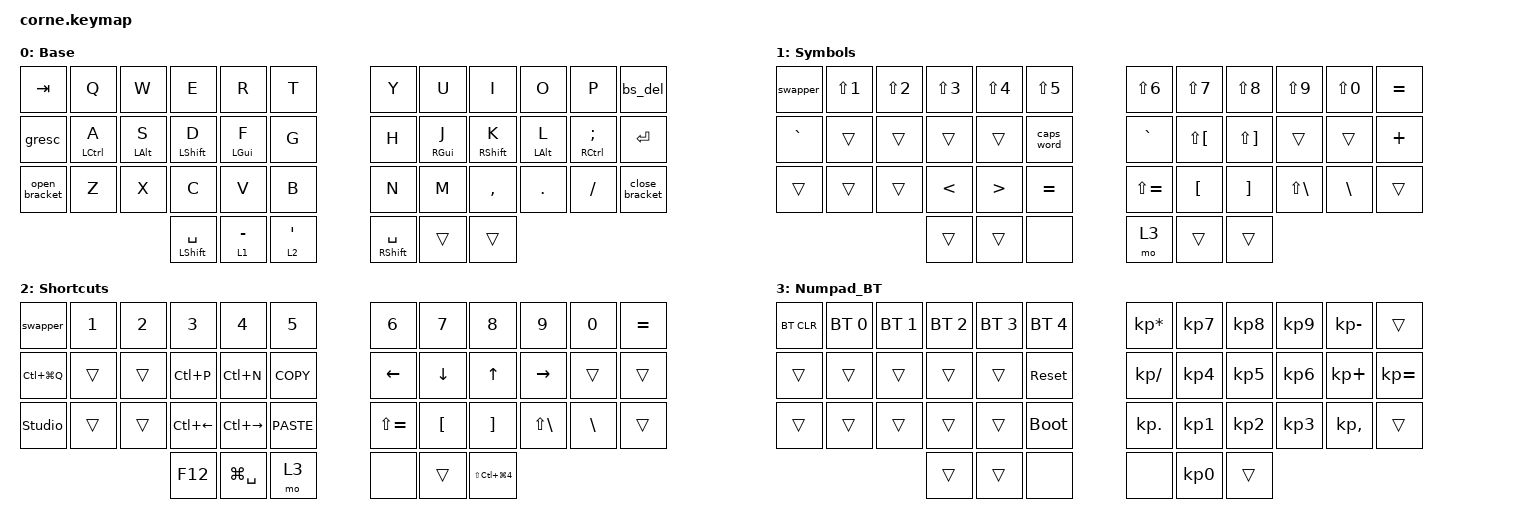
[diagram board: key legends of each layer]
#include <behaviors.dtsi>
#include <behaviors/num_word.dtsi>
#include <dt-bindings/zmk/keys.h>
#include <dt-bindings/zmk/bt.h>

/ {
    behaviors {
        hml: hml {
            compatible = "zmk,behavior-hold-tap";
            #binding-cells = <2>;
            bindings = <&kp>, <&kp>;
            flavor = "balanced";
            tapping-term-ms = <280>;
            quick-tap-ms = <175>;
            require-prior-idle-ms = <150>;
            hold-trigger-on-release;
            hold-trigger-key-positions = <6 7 8 9 10 11 18 19 20 21 22 23 30 31 32 33 34 35 36 37 38 39 40 41>;
        };
        hmr: hmr {
            compatible = "zmk,behavior-hold-tap";
            #binding-cells = <2>;
            bindings = <&kp>, <&kp>;
            flavor = "balanced";
            tapping-term-ms = <280>;
            quick-tap-ms = <175>;
            require-prior-idle-ms = <150>;
            hold-trigger-on-release;
            hold-trigger-key-positions = <0 1 2 3 4 5 12 13 14 15 16 17 24 25 26 27 28 29 36 37 38 39 40 41>;
        };
        smart_num: smart_num {
            compatible = "zmk,behavior-hold-tap";
            #binding-cells = <2>;
            bindings = <&mo>, <&num_dance>;
            flavor = "balanced";
            tapping-term-ms = <200>;
            quick-tap-ms = <175>;
        };
        num_dance: num_dance {
            compatible = "zmk,behavior-tap-dance";
            #binding-cells = <0>;
            bindings = <&num_word 3>, <&sl 3>;
            tapping-term-ms = <200>;
        };
        swapper: swapper {
            compatible = "zmk,behavior-tri-state";
            #binding-cells = <0>;
            bindings = <&kt LALT>, <&kp TAB>, <&kt LALT>;
            ignored-key-positions = <3 8 19 20 21>;
        };
        bs_del: bs_del {
            compatible = "zmk,behavior-mod-morph";
            #binding-cells = <0>;
            bindings = <&kp BSPC>, <&kp DEL>;
            mods = <(MOD_LSFT|MOD_RSFT)>;
            keep-mods = <MOD_RSFT>;
        };
        open_bracket: open_bracket {
            compatible = "zmk,behavior-mod-morph";
            #binding-cells = <0>;
            bindings = <&kp LBKT>, <&kp LBKT>;
            mods = <(MOD_LSFT|MOD_RSFT)>;
        };
        close_bracket: close_bracket {
            compatible = "zmk,behavior-mod-morph";
            #binding-cells = <0>;
            bindings = <&kp RBKT>, <&kp RBKT>;
            mods = <(MOD_LSFT|MOD_RSFT)>;
        };
    };

    keymap {
        compatible = "zmk,keymap";

        layer_Base {
            display-name = "Base";
            bindings = <
&kp TAB       &kp Q         &kp W         &kp E           &kp R         &kp T         &kp Y         &kp U         &kp I         &kp O         &kp P         &bs_del
&gresc        &hml LCTRL A  &hml LALT S   &hml LSHFT D    &hml LGUI F   &kp G         &kp H         &hmr RGUI J   &hmr RSHFT K  &hmr LALT L   &hmr RCTRL SEMI &kp ENTER
&open_bracket &kp Z         &kp X         &kp C           &kp V         &kp B         &kp N         &kp M         &kp COMMA     &kp DOT       &kp SLASH     &close_bracket
                                          &mt LSHFT SPACE &lt 1 MINUS   &lt 2 SQT     &mt RSHFT SPACE &trans        &trans
            >;
        };

        layer_Symbols {
            display-name = "Symbols";
            bindings = <
&swapper      &kp LS(N1)    &kp LS(N2)    &kp LS(N3)    &kp LS(N4)    &kp LS(N5)    &kp LS(N6)    &kp LS(N7)    &kp LS(N8)    &kp LS(N9)    &kp LS(N0)    &kp EQUAL
&kp GRAVE     &trans        &trans        &trans        &trans        &caps_word    &kp GRAVE     &kp LS(LBKT)  &kp LS(RBKT)  &trans        &trans        &kp PLUS
&trans        &trans        &trans        &kp LT        &kp GT        &kp EQUAL     &kp LS(EQUAL) &kp LBKT      &kp RBKT      &kp LS(BSLH)  &kp BSLH      &trans
                                          &trans        &trans        &none         &mo 3         &trans        &trans
            >;
        };

        layer_Shortcuts {
            display-name = "Shortcuts";
            bindings = <
&swapper      &kp N1        &kp N2        &kp N3        &kp N4        &kp N5        &kp N6        &kp N7        &kp N8        &kp N9        &kp N0        &kp EQUAL
&kp LC(LG(Q)) &trans        &trans        &kp LC(P)     &kp LC(N)     &kp K_COPY    &kp LEFT      &kp DOWN      &kp UP        &kp RIGHT     &trans        &trans
&studio_unlock &trans       &trans        &kp LC(LEFT)  &kp LC(RIGHT) &kp K_PASTE   &kp LS(EQUAL) &kp LBKT      &kp RBKT      &kp LS(BSLH)  &kp BSLH      &trans
                                          &kp F12       &kp LG(SPACE) &mo 3         &none         &trans        &kp LS(LC(LG(N4)))
            >;
        };

        layer_Numpad_BT {
            display-name = "Numpad_BT";
            bindings = <
&bt BT_CLR    &bt BT_SEL 0  &bt BT_SEL 1  &bt BT_SEL 2  &bt BT_SEL 3  &bt BT_SEL 4  &kp KP_MULTIPLY &kp KP_N7   &kp KP_N8     &kp KP_N9     &kp KP_MINUS  &trans
&trans        &trans        &trans        &trans        &trans        &sys_reset    &kp KP_DIVIDE   &kp KP_N4   &kp KP_N5     &kp KP_N6     &kp KP_PLUS   &kp KP_EQUAL
&trans        &trans        &trans        &trans        &trans        &bootloader   &kp KP_DOT      &kp KP_N1   &kp KP_N2     &kp KP_N3     &kp KP_COMMA  &trans
                                          &trans        &trans        &none         &none           &kp KP_N0   &trans
            >;
        };
    };
};

&lt         { flavor = "balanced"; tapping-term-ms = <200>; quick-tap-ms = <175>; };
&mt         { flavor = "tap-preferred"; tapping-term-ms = <220>; quick-tap-ms = <220>; hold-trigger-key-positions = <0>; };
&caps_word  { /delete-property/ ignore-modifiers; };

/ { chosen { zmk,physical-layout = &foostan_corne_6col_layout; }; };
